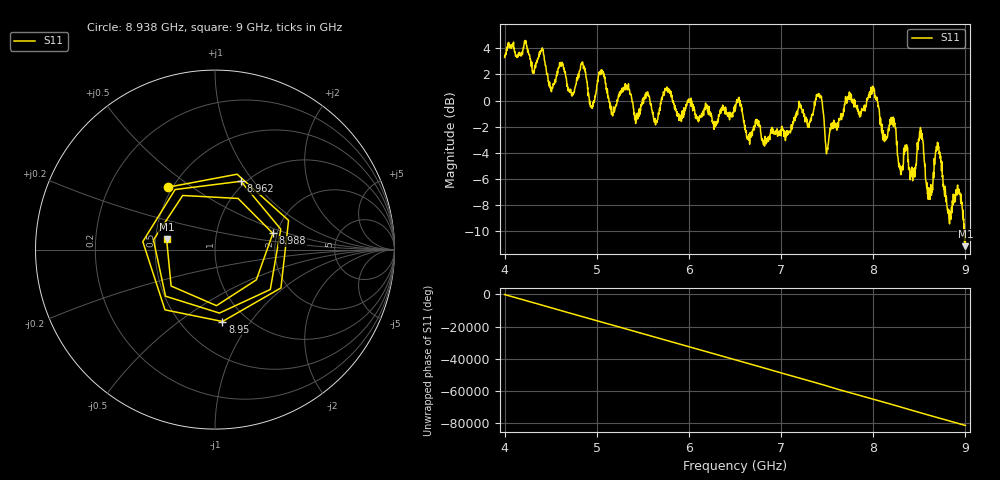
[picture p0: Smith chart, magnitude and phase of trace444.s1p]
! Created with skrf 1.8.0 (http://scikit-rf.org).
# Hz S RI R 50.0
!freq ReS11 ImS11
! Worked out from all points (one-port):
!   1601 points, 4 GHz to 9 GHz, reference 50 ohm
!   lowest |S11| = -11.2 dB at 9 GHz (marker M1), VSWR 1.76, Z = 28.6 + j3.58 ohm
!   |S11| at or under -10 dB: 8.983711 GHz to 8.984651 GHz (939.9 kHz wide, 0.0105 % of centre); 8.989078 GHz to 8.996176 GHz (7.098 MHz wide, 0.0789 % of centre); 8.997095 GHz to end of sweep
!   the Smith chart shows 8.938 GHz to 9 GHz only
!   S11 on the Smith chart (normalised r, x): 8.938 GHz: 0.47, +0.40; 8.95 GHz: 0.78, -0.74; 8.962 GHz: 0.95, +0.87; 8.988 GHz: 1.90, +0.39; 9 GHz: 0.57, +0.07
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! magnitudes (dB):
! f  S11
! 4 GHz  3.3
! 4.625 GHz  2.7
! 4.731 GHz  0.3
! 4.853 GHz  2.7
! 4.947 GHz  -0.4
! 5.047 GHz  2.2
! 5.169 GHz  -1.0
! 5.25 GHz  0.6
! 5.875 GHz  -1.2
! 6.5 GHz  -0.3
! 6.65 GHz  -2.6
! 7.125 GHz  -1.9
! 7.412 GHz  0.4
! 7.503 GHz  -3.6
! 7.75 GHz  0.2
! 7.997 GHz  0.9
! 8.122 GHz  -3.2
! 8.375 GHz  -4.1
! 8.428 GHz  -6.2
! 8.516 GHz  -2.4
! 8.606 GHz  -7.0
! 8.7 GHz  -3.4
! 8.822 GHz  -9.0
! 8.938 GHz  -7.2
! 8.95 GHz  -7.9
! 8.962 GHz  -7.8
! 8.988 GHz  -9.5
! 9 GHz  -11.2
